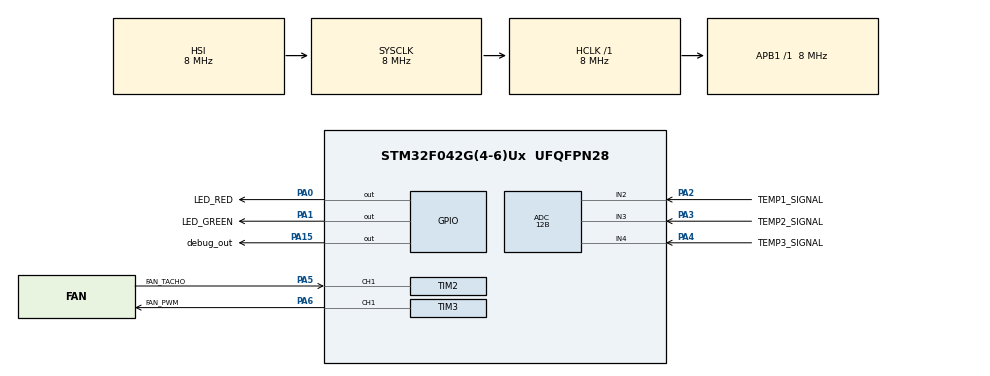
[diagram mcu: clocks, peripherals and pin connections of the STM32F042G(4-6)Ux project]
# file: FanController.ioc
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ADC.ClockPrescaler=ADC_CLOCK_ASYNC_DIV1
ADC.DMAContinuousRequests=ENABLE
ADC.ExternalTrigConv=ADC_EXTERNALTRIGCONV_T1_TRGO
ADC.LowPowerAutoPowerOff=ENABLE
ADC.LowPowerAutoWait=ENABLE
ADC.Resolution=ADC_RESOLUTION_12B
ADC.SamplingTime=ADC_SAMPLETIME_239CYCLES_5
Dma.ADC.0.Direction=DMA_PERIPH_TO_MEMORY
Dma.ADC.0.Instance=DMA1_Channel1
Dma.ADC.0.MemDataAlignment=DMA_MDATAALIGN_WORD
Dma.ADC.0.MemInc=DMA_MINC_ENABLE
Dma.ADC.0.Mode=DMA_CIRCULAR
Dma.ADC.0.PeriphDataAlignment=DMA_PDATAALIGN_WORD
Dma.ADC.0.PeriphInc=DMA_PINC_DISABLE
Dma.ADC.0.Priority=DMA_PRIORITY_LOW
Dma.Request0=ADC
Dma.Request1=TIM2_CH1
Dma.TIM2_CH1.1.Direction=DMA_PERIPH_TO_MEMORY
Dma.TIM2_CH1.1.Instance=DMA1_Channel5
Dma.TIM2_CH1.1.MemDataAlignment=DMA_MDATAALIGN_WORD
Dma.TIM2_CH1.1.MemInc=DMA_MINC_ENABLE
Dma.TIM2_CH1.1.Mode=DMA_CIRCULAR
Dma.TIM2_CH1.1.PeriphDataAlignment=DMA_PDATAALIGN_WORD
Dma.TIM2_CH1.1.PeriphInc=DMA_PINC_DISABLE
Dma.TIM2_CH1.1.Priority=DMA_PRIORITY_LOW
Mcu.Family=STM32F0
Mcu.Name=STM32F042G(4-6)Ux
Mcu.Package=UFQFPN28
Mcu.UserConstants=TS_CAL2,*((uint16_t*) ((uint32_t) 0x1FFFF7C2));FAN_DUTY_CYCLE,0;TS_CAL1,*((uint16_t*) ((uint32_t) 0x1FFFF7B8));TEMPERATURE_OFFSET,-35;VREFINT_CAL,*((uint16_t*) ((uint32_t) 0x1FFFF7BA));ADC_CHANNELS,5;TIMER1_PERIOD,124;ADC_MEASURE_ITERATIONS,80;TIMER2_PERIOD,0xFFFFFFFF;TIMER3_PERIOD,99;TIMER_PRESCALER,799;TACHO_BUFFER_LEN,10;USE_DEBUG_PIN,0;USE_SLEEP,1
NVIC.DMA1_Channel1_IRQn=true\:0\:0\:false\:false\:true\:false\:true\:true
NVIC.DMA1_Channel4_5_IRQn=true\:0\:0\:false\:false\:true\:false\:true\:true
NVIC.TIM1_BRK_UP_TRG_COM_IRQn=true\:0\:0\:false\:false\:true\:true\:true\:true
NVIC.TIM2_IRQn=true\:0\:0\:false\:false\:true\:true\:true\:true
PA0.GPIO_Label=LED_RED
PA0.PinState=GPIO_PIN_SET
PA0.Signal=GPIO_Output
PA1.GPIO_Label=LED_GREEN
PA1.PinState=GPIO_PIN_SET
PA1.Signal=GPIO_Output
PA13.Mode=Serial_Wire
PA13.Signal=SYS_SWDIO
PA14.Mode=Serial_Wire
PA14.Signal=SYS_SWCLK
PA15.GPIO_Label=debug_out
PA15.Signal=GPIO_Output
PA2.GPIO_Label=TEMP1_SIGNAL
PA2.Mode=IN2
PA2.Signal=ADC_IN2
PA3.GPIO_Label=TEMP2_SIGNAL
PA3.Mode=IN3
PA3.Signal=ADC_IN3
PA4.GPIO_Label=TEMP3_SIGNAL
PA4.Mode=IN4
PA4.Signal=ADC_IN4
PA5.GPIO_Label=FAN_TACHO
PA5.Signal=S_TIM2_CH1_ETR
PA6.GPIO_Label=FAN_PWM
PA6.Signal=S_TIM3_CH1
ProjectManager.HeapSize=0x200
ProjectManager.StackSize=0x400
ProjectManager.TargetToolchain=STM32CubeIDE
RCC.AHBFreq_Value=8000000
RCC.APB1Freq_Value=8000000
RCC.APB1TimFreq_Value=8000000
RCC.HCLKFreq_Value=8000000
RCC.SYSCLKFreq_VALUE=8000000
SH.S_TIM2_CH1_ETR.0=TIM2_CH1,Input_Capture1_from_TI1
SH.S_TIM3_CH1.0=TIM3_CH1,PWM Generation1 CH1
TIM1.Period=TIMER1_PERIOD
TIM1.Prescaler=TIMER_PRESCALER
TIM1.TIM_MasterOutputTrigger=TIM_TRGO_UPDATE
TIM2.Channel-Input_Capture1_from_TI1=TIM_CHANNEL_1
TIM2.ICFilter_CH1=0x0
TIM2.Period=TIMER2_PERIOD
TIM2.Prescaler=0
TIM2.TIM_MasterOutputTrigger=TIM_TRGO_UPDATE
TIM3.Channel-PWM\ Generation1\ CH1=TIM_CHANNEL_1
TIM3.Period=TIMER3_PERIOD
TIM3.Pulse=FAN_DUTY_CYCLE
TIM3.Pulse-PWM\ Generation1\ CH1=FAN_DUTY_CYCLE
VP_ADC_TempSens_Input.Mode=IN-TempSens
VP_ADC_Vref_Input.Mode=IN-Vrefint
VP_TIM1_VS_ClockSourceINT.Mode=Internal
VP_TIM2_VS_ClockSourceINT.Mode=Internal
VP_TIM3_VS_ClockSourceINT.Mode=Internal
board=custom

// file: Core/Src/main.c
/* USER CODE BEGIN Header */
/**
 ******************************************************************************
 * @file           : main.c
 * @brief          : Main program body
 ******************************************************************************
 * @attention
 *
 * Copyright (c) 2023 STMicroelectronics.
 * All rights reserved.
 *
 * This software is licensed under terms that can be found in the LICENSE file
 * in the root directory of this software component.
 * If no LICENSE file comes with this software, it is provided AS-IS.
 *
 ******************************************************************************
 */
/* USER CODE END Header */
#include "main.h"

ADC_HandleTypeDef hadc;
DMA_HandleTypeDef hdma_adc;

TIM_HandleTypeDef htim1;
TIM_HandleTypeDef htim2;
TIM_HandleTypeDef htim3;
DMA_HandleTypeDef hdma_tim2_ch1;

/* USER CODE BEGIN PV */
uint32_t adc_buffer[ADC_CHANNELS] =
	{0};	// store for ADC readout
uint32_t tacho[TACHO_BUFFER_LEN] =
	{0};	// store for raw tacho readout

volatile int32_t adc[ADC_CHANNELS] =
	{0};	// store for ADC readout
volatile uint32_t RPM = 0;	// fan RPM

/* USER CODE END PV */

void SystemClock_Config(void);
static void MX_GPIO_Init(void);
static void MX_DMA_Init(void);
static void MX_ADC_Init(void);
static void MX_TIM2_Init(void);  // PA5 - fan tachometer input
static void MX_TIM3_Init(void);  // PA6 -fan PWM output
static void MX_TIM1_Init(void);  // ADC trigger timer

int main(void)
{

	/* MCU Configuration--------------------------------------------------------*/

	/* Reset of all peripherals, Initializes the Flash interface and the Systick. */
	HAL_Init();

	/* Configure the system clock */
	SystemClock_Config();

	/* Initialize all configured peripherals */
	MX_GPIO_Init();
	MX_DMA_Init();
	MX_ADC_Init();
	MX_TIM2_Init();  // PA5 - fan tachometer input
	MX_TIM3_Init();  // PA6 -fan PWM output
	MX_TIM1_Init();  // ADC trigger timer
	/* USER CODE BEGIN 2 */
#if USE_SLEEP
	HAL_PWR_EnableSleepOnExit();	// enter sleep mode after an ISR is over
#endif
	/* USER CODE END 2 */

	/* Infinite loop */
	while(1)
		{

		}
}

void SystemClock_Config(void)
{
	RCC_OscInitTypeDef RCC_OscInitStruct =
		{0};
	RCC_ClkInitTypeDef RCC_ClkInitStruct =
		{0};

	/** Initializes the RCC Oscillators according to the specified parameters
	 * in the RCC_OscInitTypeDef structure.
	 */
	RCC_OscInitStruct.OscillatorType = RCC_OSCILLATORTYPE_HSI | RCC_OSCILLATORTYPE_HSI14;
	RCC_OscInitStruct.HSIState = RCC_HSI_ON;
	RCC_OscInitStruct.HSI14State = RCC_HSI14_ON;
	RCC_OscInitStruct.HSICalibrationValue = RCC_HSICALIBRATION_DEFAULT;
	RCC_OscInitStruct.HSI14CalibrationValue = 16;
	RCC_OscInitStruct.PLL.PLLState = RCC_PLL_NONE;
	if(HAL_RCC_OscConfig(&RCC_OscInitStruct) != HAL_OK)
		{
			Error_Handler();
		}

	/** Initializes the CPU, AHB and APB buses clocks
	 */
	RCC_ClkInitStruct.ClockType = RCC_CLOCKTYPE_HCLK | RCC_CLOCKTYPE_SYSCLK | RCC_CLOCKTYPE_PCLK1;
	RCC_ClkInitStruct.SYSCLKSource = RCC_SYSCLKSOURCE_HSI;
	RCC_ClkInitStruct.AHBCLKDivider = RCC_SYSCLK_DIV1;
	RCC_ClkInitStruct.APB1CLKDivider = RCC_HCLK_DIV1;

	if(HAL_RCC_ClockConfig(&RCC_ClkInitStruct, FLASH_LATENCY_0) != HAL_OK)
		{
			Error_Handler();
		}
}

/**
 * @brief ADC Initialisation Function
 * @param None
 * @retval None
 */
static void MX_ADC_Init(void)
{

	ADC_ChannelConfTypeDef sConfig =
		{0};

	/** Configure the global features of the ADC (Clock, Resolution, Data Alignment and number of conversion)
	 */
	hadc.Instance = ADC1;
	hadc.Init.ClockPrescaler = ADC_CLOCK_ASYNC_DIV1;
	hadc.Init.Resolution = ADC_RESOLUTION_12B;
	hadc.Init.DataAlign = ADC_DATAALIGN_RIGHT;
	hadc.Init.ScanConvMode = ADC_SCAN_DIRECTION_FORWARD;
	hadc.Init.EOCSelection = ADC_EOC_SINGLE_CONV;
	hadc.Init.LowPowerAutoWait = ENABLE;
	hadc.Init.LowPowerAutoPowerOff = ENABLE;
	hadc.Init.ContinuousConvMode = DISABLE;
	hadc.Init.DiscontinuousConvMode = DISABLE;
	hadc.Init.ExternalTrigConv = ADC_EXTERNALTRIGCONV_T1_TRGO;
	hadc.Init.ExternalTrigConvEdge = ADC_EXTERNALTRIGCONVEDGE_RISING;
	hadc.Init.DMAContinuousRequests = ENABLE;
	hadc.Init.Overrun = ADC_OVR_DATA_PRESERVED;
	if(HAL_ADC_Init(&hadc) != HAL_OK)
		{
			Error_Handler();
		}

	/** Configure for the selected ADC regular channel to be converted.
	 */
	sConfig.Channel = ADC_CHANNEL_2;
	sConfig.Rank = ADC_RANK_CHANNEL_NUMBER;
	sConfig.SamplingTime = ADC_SAMPLETIME_239CYCLES_5;
	if(HAL_ADC_ConfigChannel(&hadc, &sConfig) != HAL_OK)
		{
			Error_Handler();
		}

	/** Configure for the selected ADC regular channel to be converted.
	 */
	sConfig.Channel = ADC_CHANNEL_3;
	if(HAL_ADC_ConfigChannel(&hadc, &sConfig) != HAL_OK)
		{
			Error_Handler();
		}

	/** Configure for the selected ADC regular channel to be converted.
	 */
	sConfig.Channel = ADC_CHANNEL_4;
	if(HAL_ADC_ConfigChannel(&hadc, &sConfig) != HAL_OK)
		{
			Error_Handler();
		}

	/** Configure for the selected ADC regular channel to be converted.
	 */
	sConfig.Channel = ADC_CHANNEL_TEMPSENSOR;
	if(HAL_ADC_ConfigChannel(&hadc, &sConfig) != HAL_OK)
		{
			Error_Handler();
		}

	/** Configure for the selected ADC regular channel to be converted.
	 */
	sConfig.Channel = ADC_CHANNEL_VREFINT;
	if(HAL_ADC_ConfigChannel(&hadc, &sConfig) != HAL_OK)
		{
			Error_Handler();
		}
	/* USER CODE BEGIN ADC_Init 2 */
	HAL_ADCEx_Calibration_Start(&hadc);
	HAL_ADC_Start_DMA(&hadc, (uint32_t*) adc_buffer, ADC_CHANNELS);  // start DMA
	/* USER CODE END ADC_Init 2 */

}

/**
 * @brief TIM1 Initialisation Function -- ADC trigger timer
 * @param None
 * @retval None
 */
static void MX_TIM1_Init(void)
{

	TIM_ClockConfigTypeDef sClockSourceConfig =
		{0};
	TIM_MasterConfigTypeDef sMasterConfig =
		{0};

	htim1.Instance = TIM1;
	htim1.Init.Prescaler = TIMER_PRESCALER;
	htim1.Init.CounterMode = TIM_COUNTERMODE_UP;
	htim1.Init.Period = TIMER1_PERIOD;
	htim1.Init.ClockDivision = TIM_CLOCKDIVISION_DIV1;
	htim1.Init.RepetitionCounter = 0;
	htim1.Init.AutoReloadPreload = TIM_AUTORELOAD_PRELOAD_DISABLE;
	if(HAL_TIM_Base_Init(&htim1) != HAL_OK)
		{
			Error_Handler();
		}
	sClockSourceConfig.ClockSource = TIM_CLOCKSOURCE_INTERNAL;
	if(HAL_TIM_ConfigClockSource(&htim1, &sClockSourceConfig) != HAL_OK)
		{
			Error_Handler();
		}
	sMasterConfig.MasterOutputTrigger = TIM_TRGO_UPDATE;
	sMasterConfig.MasterSlaveMode = TIM_MASTERSLAVEMODE_DISABLE;
	if(HAL_TIMEx_MasterConfigSynchronization(&htim1, &sMasterConfig) != HAL_OK)
		{
			Error_Handler();
		}
	/* USER CODE BEGIN TIM1_Init 2 */
	HAL_TIM_Base_Start_IT(&htim1);  // start the timer
	/* USER CODE END TIM1_Init 2 */

}

/**
 * @brief TIM2 Initialisation Function	-- PA5 - fan tachometer input
 * @param None
 * @retval None
 */
static void MX_TIM2_Init(void)
{

	TIM_ClockConfigTypeDef sClockSourceConfig =
		{0};
	TIM_MasterConfigTypeDef sMasterConfig =
		{0};
	TIM_IC_InitTypeDef sConfigIC =
		{0};

	htim2.Instance = TIM2;
	htim2.Init.Prescaler = 0;
	htim2.Init.CounterMode = TIM_COUNTERMODE_UP;
	htim2.Init.Period = TIMER2_PERIOD;
	htim2.Init.ClockDivision = TIM_CLOCKDIVISION_DIV1;
	htim2.Init.AutoReloadPreload = TIM_AUTORELOAD_PRELOAD_DISABLE;
	if(HAL_TIM_Base_Init(&htim2) != HAL_OK)
		{
			Error_Handler();
		}
	sClockSourceConfig.ClockSource = TIM_CLOCKSOURCE_INTERNAL;
	if(HAL_TIM_ConfigClockSource(&htim2, &sClockSourceConfig) != HAL_OK)
		{
			Error_Handler();
		}
	if(HAL_TIM_IC_Init(&htim2) != HAL_OK)
		{
			Error_Handler();
		}
	sMasterConfig.MasterOutputTrigger = TIM_TRGO_UPDATE;
	sMasterConfig.MasterSlaveMode = TIM_MASTERSLAVEMODE_DISABLE;
	if(HAL_TIMEx_MasterConfigSynchronization(&htim2, &sMasterConfig) != HAL_OK)
		{
			Error_Handler();
		}
	sConfigIC.ICPolarity = TIM_INPUTCHANNELPOLARITY_RISING;
	sConfigIC.ICSelection = TIM_ICSELECTION_DIRECTTI;
	sConfigIC.ICPrescaler = TIM_ICPSC_DIV1;
	sConfigIC.ICFilter = 0x0;
	if(HAL_TIM_IC_ConfigChannel(&htim2, &sConfigIC, TIM_CHANNEL_1) != HAL_OK)
		{
			Error_Handler();
		}
	/* USER CODE BEGIN TIM2_Init 2 */
	HAL_TIM_IC_Start_DMA(&htim2, TIM_CHANNEL_1, tacho, TACHO_BUFFER_LEN);  // start timer2 DMA
	/* USER CODE END TIM2_Init 2 */

}

/**
 * @brief TIM3 Initialisation Function -- PA6 - fan PWM output
 * @param None
 * @retval None
 */
static void MX_TIM3_Init(void)
{

	TIM_ClockConfigTypeDef sClockSourceConfig =
		{0};
	TIM_MasterConfigTypeDef sMasterConfig =
		{0};
	TIM_OC_InitTypeDef sConfigOC =
		{0};

	htim3.Instance = TIM3;
	htim3.Init.Prescaler = 0;
	htim3.Init.CounterMode = TIM_COUNTERMODE_UP;
	htim3.Init.Period = TIMER3_PERIOD;
	htim3.Init.ClockDivision = TIM_CLOCKDIVISION_DIV1;
	htim3.Init.AutoReloadPreload = TIM_AUTORELOAD_PRELOAD_DISABLE;
	if(HAL_TIM_Base_Init(&htim3) != HAL_OK)
		{
			Error_Handler();
		}
	sClockSourceConfig.ClockSource = TIM_CLOCKSOURCE_INTERNAL;
	if(HAL_TIM_ConfigClockSource(&htim3, &sClockSourceConfig) != HAL_OK)
		{
			Error_Handler();
		}
	if(HAL_TIM_PWM_Init(&htim3) != HAL_OK)
		{
			Error_Handler();
		}
	sMasterConfig.MasterOutputTrigger = TIM_TRGO_RESET;
	sMasterConfig.MasterSlaveMode = TIM_MASTERSLAVEMODE_DISABLE;
	if(HAL_TIMEx_MasterConfigSynchronization(&htim3, &sMasterConfig) != HAL_OK)
		{
			Error_Handler();
		}
	sConfigOC.OCMode = TIM_OCMODE_PWM1;
	sConfigOC.Pulse = FAN_DUTY_CYCLE;  // 0 - off by default
	sConfigOC.OCPolarity = TIM_OCPOLARITY_HIGH;
	sConfigOC.OCFastMode = TIM_OCFAST_DISABLE;
	if(HAL_TIM_PWM_ConfigChannel(&htim3, &sConfigOC, TIM_CHANNEL_1) != HAL_OK)
		{
			Error_Handler();
		}
	/* USER CODE BEGIN TIM3_Init 2 */
	HAL_TIM_PWM_Start(&htim3, TIM_CHANNEL_1);  // start the PWM timer
	/* USER CODE END TIM3_Init 2 */
	HAL_TIM_MspPostInit(&htim3);

}

static void MX_DMA_Init(void)
{

	/* DMA controller clock enable */
	__HAL_RCC_DMA1_CLK_ENABLE();

	/* DMA interrupt init */
	/* DMA1_Channel1_IRQn interrupt configuration */
	HAL_NVIC_SetPriority(DMA1_Channel1_IRQn, 0, 0);
	HAL_NVIC_EnableIRQ(DMA1_Channel1_IRQn);
	/* DMA1_Channel4_5_IRQn interrupt configuration */
	HAL_NVIC_SetPriority(DMA1_Channel4_5_IRQn, 0, 0);
	HAL_NVIC_EnableIRQ(DMA1_Channel4_5_IRQn);

}

/**
 * @brief GPIO Initialisation Function
 * @param None
 * @retval None
 */
static void MX_GPIO_Init(void)
{
	GPIO_InitTypeDef GPIO_InitStruct =
		{0};

	/* GPIO Ports Clock Enable */
	__HAL_RCC_GPIOB_CLK_ENABLE();
	__HAL_RCC_GPIOF_CLK_ENABLE();
	__HAL_RCC_GPIOA_CLK_ENABLE();

	/*Configure GPIO pin Output Level */
	HAL_GPIO_WritePin(GPIOA, LED_RED_Pin | LED_GREEN_Pin, GPIO_PIN_SET);

	/*Configure GPIO pin Output Level */
	HAL_GPIO_WritePin(debug_out_GPIO_Port, debug_out_Pin, GPIO_PIN_RESET);

	/*Configure GPIO pins : PB8 PB0 PB1 PB3
	 PB4 PB5 PB6 PB7 */
	GPIO_InitStruct.Pin = GPIO_PIN_8 | GPIO_PIN_0 | GPIO_PIN_1 | GPIO_PIN_3 | GPIO_PIN_4 | GPIO_PIN_5 | GPIO_PIN_6 | GPIO_PIN_7;
	GPIO_InitStruct.Mode = GPIO_MODE_ANALOG;
	GPIO_InitStruct.Pull = GPIO_NOPULL;
	HAL_GPIO_Init(GPIOB, &GPIO_InitStruct);

	/*Configure GPIO pins : PF0 PF1 */
	GPIO_InitStruct.Pin = GPIO_PIN_0 | GPIO_PIN_1;
	GPIO_InitStruct.Mode = GPIO_MODE_ANALOG;
	GPIO_InitStruct.Pull = GPIO_NOPULL;
	HAL_GPIO_Init(GPIOF, &GPIO_InitStruct);

#if USE_DEBUG_PIN
	/*Configure GPIO pins : LED_RED_Pin LED_GREEN_Pin debug_out_Pin */
	GPIO_InitStruct.Pin = LED_RED_Pin | LED_GREEN_Pin | debug_out_Pin;
	GPIO_InitStruct.Mode = GPIO_MODE_OUTPUT_PP;
	GPIO_InitStruct.Pull = GPIO_NOPULL;
	GPIO_InitStruct.Speed = GPIO_SPEED_FREQ_LOW;
	HAL_GPIO_Init(GPIOA, &GPIO_InitStruct);
#else
	/*Configure GPIO pins : LED_RED_Pin LED_GREEN_Pin */
	GPIO_InitStruct.Pin = LED_RED_Pin | LED_GREEN_Pin;
	GPIO_InitStruct.Mode = GPIO_MODE_OUTPUT_PP;
	GPIO_InitStruct.Pull = GPIO_NOPULL;
	GPIO_InitStruct.Speed = GPIO_SPEED_FREQ_LOW;
	HAL_GPIO_Init(GPIOA, &GPIO_InitStruct);

	GPIO_InitStruct.Pin = debug_out_Pin;
	GPIO_InitStruct.Mode = GPIO_MODE_ANALOG;
	GPIO_InitStruct.Pull = GPIO_NOPULL;
	HAL_GPIO_Init(GPIOA, &GPIO_InitStruct);
#endif

	/*Configure GPIO pins : PA7 PA9 PA10 */
	GPIO_InitStruct.Pin = GPIO_PIN_7 | GPIO_PIN_9 | GPIO_PIN_10;
	GPIO_InitStruct.Mode = GPIO_MODE_ANALOG;
	GPIO_InitStruct.Pull = GPIO_NOPULL;
	HAL_GPIO_Init(GPIOA, &GPIO_InitStruct);

}

void Error_Handler(void)
{
	__disable_irq();
	while(1)
		{
		}
}
